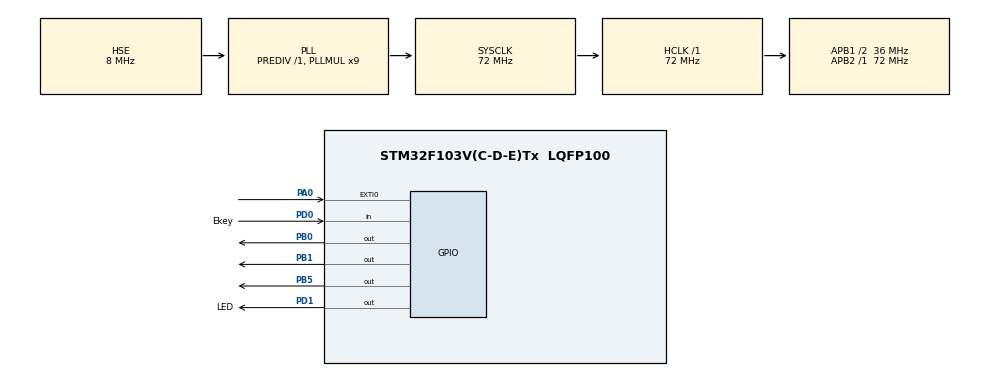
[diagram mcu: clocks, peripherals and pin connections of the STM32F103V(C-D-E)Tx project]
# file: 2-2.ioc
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Mcu.Family=STM32F1
Mcu.Name=STM32F103V(C-D-E)Tx
Mcu.Package=LQFP100
NVIC.EXTI0_IRQn=true\:0\:0\:false\:false\:true\:true\:true\:true
NVIC.PriorityGroup=NVIC_PRIORITYGROUP_4
OSC_IN.Mode=HSE-External-Oscillator
OSC_IN.Signal=RCC_OSC_IN
OSC_OUT.Mode=HSE-External-Oscillator
OSC_OUT.Signal=RCC_OSC_OUT
PA0-WKUP.Signal=GPXTI0
PA13.Mode=Serial_Wire
PA13.Signal=SYS_JTMS-SWDIO
PA14.Mode=Serial_Wire
PA14.Signal=SYS_JTCK-SWCLK
PB0.GPIO_Speed=GPIO_SPEED_FREQ_HIGH
PB0.PinState=GPIO_PIN_SET
PB0.Signal=GPIO_Output
PB1.GPIO_Speed=GPIO_SPEED_FREQ_HIGH
PB1.PinState=GPIO_PIN_SET
PB1.Signal=GPIO_Output
PB5.GPIO_Speed=GPIO_SPEED_FREQ_HIGH
PB5.PinState=GPIO_PIN_SET
PB5.Signal=GPIO_Output
PC14-OSC32_IN.Mode=LSE-External-Oscillator
PC14-OSC32_IN.Signal=RCC_OSC32_IN
PC15-OSC32_OUT.Mode=LSE-External-Oscillator
PC15-OSC32_OUT.Signal=RCC_OSC32_OUT
PD0.GPIO_Label=Ekey
PD0.GPIO_PuPd=GPIO_PULLDOWN
PD0.Signal=GPIO_Input
PD1.GPIO_Label=LED
PD1.GPIO_Speed=GPIO_SPEED_FREQ_HIGH
PD1.PinState=GPIO_PIN_SET
PD1.Signal=GPIO_Output
ProjectManager.HeapSize=0x200
ProjectManager.StackSize=0x400
ProjectManager.TargetToolchain=STM32CubeIDE
RCC.AHBFreq_Value=72000000
RCC.APB1CLKDivider=RCC_HCLK_DIV2
RCC.APB1Freq_Value=36000000
RCC.APB1TimFreq_Value=72000000
RCC.APB2Freq_Value=72000000
RCC.APB2TimFreq_Value=72000000
RCC.HCLKFreq_Value=72000000
RCC.PLLMUL=RCC_PLL_MUL9
RCC.PLLSourceVirtual=RCC_PLLSOURCE_HSE
RCC.SYSCLKFreq_VALUE=72000000
RCC.SYSCLKSource=RCC_SYSCLKSOURCE_PLLCLK
RCC.USBFreq_Value=72000000
board=custom

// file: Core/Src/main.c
/* USER CODE BEGIN Header */
/**
 ******************************************************************************
 * @file           : main.c
 * @brief          : Main program body
 ******************************************************************************
 * @attention
 *
 * Copyright (c) 2024 STMicroelectronics.
 * All rights reserved.
 *
 * This software is licensed under terms that can be found in the LICENSE file
 * in the root directory of this software component.
 * If no LICENSE file comes with this software, it is provided AS-IS.
 *
 ******************************************************************************
 */
/* USER CODE END Header */
#include "main.h"

void SystemClock_Config(void);
static void MX_GPIO_Init(void);

int main(void)
{

  /* MCU Configuration--------------------------------------------------------*/

  /* Reset of all peripherals, Initializes the Flash interface and the Systick. */
  HAL_Init();

  /* USER CODE BEGIN Init */
	GPIO_PinState current_state = GPIO_PIN_RESET;
	int i = -1;

  /* USER CODE END Init */

  /* Configure the system clock */
  SystemClock_Config();

  /* Initialize all configured peripherals */
  MX_GPIO_Init();

  /* Infinite loop */
  /* USER CODE BEGIN WHILE */
	while (1) {
		if ((current_state == GPIO_PIN_RESET)
				&& (HAL_GPIO_ReadPin(GPIOD, GPIO_PIN_0) == GPIO_PIN_SET)) {
			i += 1;
			current_state = GPIO_PIN_SET;
		}
		if ((current_state == GPIO_PIN_SET)
				&& (HAL_GPIO_ReadPin(GPIOD, GPIO_PIN_0) == GPIO_PIN_RESET)) {
			current_state = GPIO_PIN_RESET;
		}
		if (i >= 0) {
			switch (i % 3) {
			case (0):
				HAL_GPIO_WritePin(GPIOB, GPIO_PIN_5, GPIO_PIN_RESET); // R
				HAL_GPIO_WritePin(GPIOB, GPIO_PIN_0, GPIO_PIN_SET);   // G
				HAL_GPIO_WritePin(GPIOB, GPIO_PIN_1, GPIO_PIN_SET);   // B
				break;
			case (1):
				HAL_GPIO_WritePin(GPIOB, GPIO_PIN_5, GPIO_PIN_SET);   // R
				HAL_GPIO_WritePin(GPIOB, GPIO_PIN_0, GPIO_PIN_RESET); // G
				HAL_GPIO_WritePin(GPIOB, GPIO_PIN_1, GPIO_PIN_SET);   // B
				break;
			default:
				HAL_GPIO_WritePin(GPIOB, GPIO_PIN_5, GPIO_PIN_SET);   // R
				HAL_GPIO_WritePin(GPIOB, GPIO_PIN_0, GPIO_PIN_SET);   // G
				HAL_GPIO_WritePin(GPIOB, GPIO_PIN_1, GPIO_PIN_RESET); // B
			}
		}
    /* USER CODE END WHILE */

	}
}

void SystemClock_Config(void)
{
  RCC_OscInitTypeDef RCC_OscInitStruct = {0};
  RCC_ClkInitTypeDef RCC_ClkInitStruct = {0};

  /** Initializes the RCC Oscillators according to the specified parameters
  * in the RCC_OscInitTypeDef structure.
  */
  RCC_OscInitStruct.OscillatorType = RCC_OSCILLATORTYPE_HSE;
  RCC_OscInitStruct.HSEState = RCC_HSE_ON;
  RCC_OscInitStruct.HSEPredivValue = RCC_HSE_PREDIV_DIV1;
  RCC_OscInitStruct.HSIState = RCC_HSI_ON;
  RCC_OscInitStruct.PLL.PLLState = RCC_PLL_ON;
  RCC_OscInitStruct.PLL.PLLSource = RCC_PLLSOURCE_HSE;
  RCC_OscInitStruct.PLL.PLLMUL = RCC_PLL_MUL9;
  if (HAL_RCC_OscConfig(&RCC_OscInitStruct) != HAL_OK)
  {
    Error_Handler();
  }

  /** Initializes the CPU, AHB and APB buses clocks
  */
  RCC_ClkInitStruct.ClockType = RCC_CLOCKTYPE_HCLK|RCC_CLOCKTYPE_SYSCLK
                              |RCC_CLOCKTYPE_PCLK1|RCC_CLOCKTYPE_PCLK2;
  RCC_ClkInitStruct.SYSCLKSource = RCC_SYSCLKSOURCE_PLLCLK;
  RCC_ClkInitStruct.AHBCLKDivider = RCC_SYSCLK_DIV1;
  RCC_ClkInitStruct.APB1CLKDivider = RCC_HCLK_DIV2;
  RCC_ClkInitStruct.APB2CLKDivider = RCC_HCLK_DIV1;

  if (HAL_RCC_ClockConfig(&RCC_ClkInitStruct, FLASH_LATENCY_2) != HAL_OK)
  {
    Error_Handler();
  }
}

static void MX_GPIO_Init(void)
{
  GPIO_InitTypeDef GPIO_InitStruct = {0};

  /* GPIO Ports Clock Enable */
  __HAL_RCC_GPIOC_CLK_ENABLE();
  __HAL_RCC_GPIOA_CLK_ENABLE();
  __HAL_RCC_GPIOB_CLK_ENABLE();
  __HAL_RCC_GPIOD_CLK_ENABLE();

  /*Configure GPIO pin Output Level */
  HAL_GPIO_WritePin(GPIOB, GPIO_PIN_0|GPIO_PIN_1|GPIO_PIN_5, GPIO_PIN_SET);

  /*Configure GPIO pin Output Level */
  HAL_GPIO_WritePin(LED_GPIO_Port, LED_Pin, GPIO_PIN_SET);

  /*Configure GPIO pin : PA0 */
  GPIO_InitStruct.Pin = GPIO_PIN_0;
  GPIO_InitStruct.Mode = GPIO_MODE_IT_RISING;
  GPIO_InitStruct.Pull = GPIO_NOPULL;
  HAL_GPIO_Init(GPIOA, &GPIO_InitStruct);

  /*Configure GPIO pins : PB0 PB1 PB5 */
  GPIO_InitStruct.Pin = GPIO_PIN_0|GPIO_PIN_1|GPIO_PIN_5;
  GPIO_InitStruct.Mode = GPIO_MODE_OUTPUT_PP;
  GPIO_InitStruct.Pull = GPIO_NOPULL;
  GPIO_InitStruct.Speed = GPIO_SPEED_FREQ_HIGH;
  HAL_GPIO_Init(GPIOB, &GPIO_InitStruct);

  /*Configure GPIO pin : Ekey_Pin */
  GPIO_InitStruct.Pin = Ekey_Pin;
  GPIO_InitStruct.Mode = GPIO_MODE_INPUT;
  GPIO_InitStruct.Pull = GPIO_PULLDOWN;
  HAL_GPIO_Init(Ekey_GPIO_Port, &GPIO_InitStruct);

  /*Configure GPIO pin : LED_Pin */
  GPIO_InitStruct.Pin = LED_Pin;
  GPIO_InitStruct.Mode = GPIO_MODE_OUTPUT_PP;
  GPIO_InitStruct.Pull = GPIO_NOPULL;
  GPIO_InitStruct.Speed = GPIO_SPEED_FREQ_HIGH;
  HAL_GPIO_Init(LED_GPIO_Port, &GPIO_InitStruct);

  /* EXTI interrupt init*/
  HAL_NVIC_SetPriority(EXTI0_IRQn, 0, 0);
  HAL_NVIC_EnableIRQ(EXTI0_IRQn);

}

void Error_Handler(void)
{
	__disable_irq();
	while (1) {
	}
}
